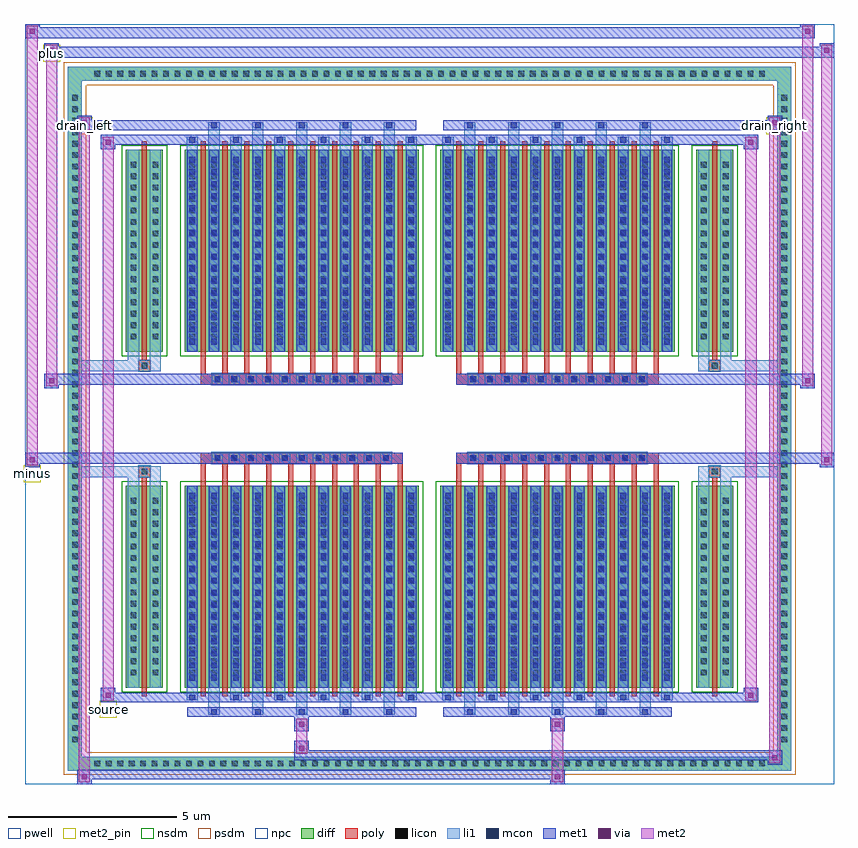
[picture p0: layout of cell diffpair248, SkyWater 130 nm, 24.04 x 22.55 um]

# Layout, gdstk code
import gdstk
lib = gdstk.Library(unit=1e-6, precision=5e-09)
def R(c, l, rs):  # rectangles x0, y0, x1, y1
    for r in rs: c.add(gdstk.rectangle(r[:2], r[2:], *l))
def A(c, l, x, y, w, h, nx, ny, dx, dy):  # array of equal rectangles
    R(c, l, [(x+i*dx, y+j*dy, x+i*dx+w, y+j*dy+h) for i in range(nx) for j in range(ny)])
def P(c, l, *ps):  # polygons
    for p in ps: c.add(gdstk.Polygon(p, *l))
pwell = (64, 44)
diff = (65, 20)
poly = (66, 20)
licon = (66, 44)
li1 = (67, 20)
mcon = (67, 44)
met1 = (68, 20)
via = (68, 44)
met2_pin = (69, 16)
met2 = (69, 20)
nsdm = (93, 44)
psdm = (94, 20)
npc = (95, 20)

diffpair248 = lib.new_cell('diffpair248')
R(diffpair248, pwell, [(-12,-10.84,12,11.71), (-9.32,-9.03,-0.01,-0.805), (0.01,-9.03,9.32,-0.805), (-9.32,0.805,-0.01,9.03), (0.01,0.805,9.32,9.03)])
A(diffpair248, diff, -10.065, -10.44, 0.41, 0.41, 59, 2, 0.34, 20.47)
A(diffpair248, diff, -10.73, -9.725, 0.41, 0.41, 1, 57, 0, 0.34)
A(diffpair248, diff, 10.32, -9.725, 0.41, 0.41, 1, 57, 0, 0.34)
R(diffpair248, diff, [(-10.065,-10.44,10.065,-10.03), (-10.73,-9.725,-10.32,9.725), (10.32,-9.725,10.73,9.725), (-9.01,-7.985,-7.91,-1.985), (-7.27,-7.985,-0.32,-1.985), (0.32,-7.985,7.27,-1.985), (7.91,-7.985,9.01,-1.985), (-9.01,1.985,-7.91,7.985), (-7.27,1.985,-0.32,7.985), (0.32,1.985,7.27,7.985), (7.91,1.985,9.01,7.985), (-10.065,10.03,10.065,10.44)])
P(diffpair248, diff, [(10.73,10.44),(-10.73,10.44),(-10.73,-10.03),(-10.32,-10.03),(-10.32,10.03),(10.32,10.03),(10.32,-10.03),(-10.32,-10.03),(-10.73,-10.03),(-10.73,-10.44),(10.73,-10.44)])
A(diffpair248, poly, -6.795, -8.235, 0.15, 6.5, 10, 2, 0.65, 9.97)
A(diffpair248, poly, 0.795, -8.235, 0.15, 6.5, 10, 2, 0.65, 9.97)
A(diffpair248, poly, -6.795, -1.735, 0.15, 0.4, 10, 2, 0.65, 3.07)
A(diffpair248, poly, 0.795, -1.735, 0.15, 0.4, 10, 2, 0.65, 3.07)
A(diffpair248, poly, -6.46, -1.335, 0.33, 0.33, 11, 2, 0.5, 2.34)
A(diffpair248, poly, 1.13, -1.335, 0.33, 0.33, 11, 2, 0.5, 2.34)
R(diffpair248, poly, [(-8.535,-8.235,-8.385,-1.735), (8.385,-8.235,8.535,-1.735), (-8.625,-1.735,-8.295,-1.405), (-8.625,-1.735,-8.295,-1.405), (8.295,-1.735,8.625,-1.405), (8.295,-1.735,8.625,-1.405), (-6.795,-1.335,-0.795,-1.005), (0.795,-1.335,6.795,-1.005), (-6.795,1.005,-0.795,1.335), (0.795,1.005,6.795,1.335), (-8.625,1.405,-8.295,1.735), (-8.625,1.405,-8.295,1.735), (8.295,1.405,8.625,1.735), (8.295,1.405,8.625,1.735), (-8.535,1.735,-8.385,8.235), (8.385,1.735,8.535,8.235)])
A(diffpair248, licon, -9.945, -10.32, 0.17, 0.17, 59, 2, 0.34, 20.47)
A(diffpair248, licon, -10.61, -9.605, 0.17, 0.17, 1, 57, 0, 0.34)
A(diffpair248, licon, 10.44, -9.605, 0.17, 0.17, 1, 57, 0, 0.34)
A(diffpair248, licon, -8.87, -7.62, 0.17, 0.17, 1, 16, 0, 0.34)
A(diffpair248, licon, -8.22, -7.62, 0.17, 0.17, 1, 16, 0, 0.34)
A(diffpair248, licon, -7.13, -7.62, 0.17, 0.17, 11, 16, 0.65, 0.34)
A(diffpair248, licon, 0.46, -7.62, 0.17, 0.17, 11, 16, 0.65, 0.34)
A(diffpair248, licon, 8.05, -7.62, 0.17, 0.17, 1, 16, 0, 0.34)
A(diffpair248, licon, 8.7, -7.62, 0.17, 0.17, 1, 16, 0, 0.34)
A(diffpair248, licon, -6.38, -1.255, 0.17, 0.17, 11, 2, 0.5, 2.34)
A(diffpair248, licon, 1.21, -1.255, 0.17, 0.17, 11, 2, 0.5, 2.34)
A(diffpair248, licon, -8.87, 2.35, 0.17, 0.17, 1, 16, 0, 0.34)
A(diffpair248, licon, -8.22, 2.35, 0.17, 0.17, 1, 16, 0, 0.34)
A(diffpair248, licon, -7.13, 2.35, 0.17, 0.17, 11, 16, 0.65, 0.34)
A(diffpair248, licon, 0.46, 2.35, 0.17, 0.17, 11, 16, 0.65, 0.34)
A(diffpair248, licon, 8.05, 2.35, 0.17, 0.17, 1, 16, 0, 0.34)
A(diffpair248, licon, 8.7, 2.35, 0.17, 0.17, 1, 16, 0, 0.34)
R(diffpair248, licon, [(-8.545,-1.655,-8.375,-1.485), (8.375,-1.655,8.545,-1.485), (-8.545,1.485,-8.375,1.655), (8.375,1.485,8.545,1.655)])
A(diffpair248, li1, -10.025, -10.4, 0.33, 0.33, 59, 2, 0.34, 20.47)
A(diffpair248, li1, -10.69, -9.685, 0.33, 0.33, 1, 57, 0, 0.34)
A(diffpair248, li1, 10.36, -9.685, 0.33, 0.33, 1, 57, 0, 0.34)
A(diffpair248, li1, -6.56, -8.79, 0.33, 0.805, 5, 2, 1.3, 16.775)
A(diffpair248, li1, -6.48, -8.79, 0.17, 0.17, 5, 2, 1.3, 17.41)
A(diffpair248, li1, 1.03, -8.79, 0.33, 0.805, 5, 2, 1.3, 16.775)
A(diffpair248, li1, 1.11, -8.79, 0.17, 0.17, 5, 2, 1.3, 17.41)
A(diffpair248, li1, -7.21, -8.36, 0.33, 0.375, 6, 2, 1.3, 16.345)
A(diffpair248, li1, -7.13, -8.36, 0.17, 0.17, 6, 2, 1.3, 16.55)
A(diffpair248, li1, 0.38, -8.36, 0.33, 0.375, 6, 2, 1.3, 16.345)
A(diffpair248, li1, 0.46, -8.36, 0.17, 0.17, 6, 2, 1.3, 16.55)
A(diffpair248, li1, -7.21, -7.985, 0.33, 6, 11, 2, 0.65, 9.97)
A(diffpair248, li1, 0.38, -7.985, 0.33, 6, 11, 2, 0.65, 9.97)
A(diffpair248, li1, -7.13, -7.77, 0.17, 0.17, 11, 16, 0.65, 0.36)
A(diffpair248, li1, -7.13, -7.77, 0.17, 5.57, 11, 2, 0.65, 9.97)
A(diffpair248, li1, 0.46, -7.77, 0.17, 0.17, 11, 16, 0.65, 0.36)
A(diffpair248, li1, 0.46, -7.77, 0.17, 5.57, 11, 2, 0.65, 9.97)
A(diffpair248, li1, -8.95, -7.7, 0.33, 0.33, 1, 16, 0, 0.34)
A(diffpair248, li1, -8.3, -7.7, 0.33, 0.33, 1, 16, 0, 0.34)
A(diffpair248, li1, -7.21, -7.7, 0.33, 0.33, 11, 16, 0.65, 0.34)
A(diffpair248, li1, 0.38, -7.7, 0.33, 0.33, 11, 16, 0.65, 0.34)
A(diffpair248, li1, 7.97, -7.7, 0.33, 0.33, 1, 16, 0, 0.34)
A(diffpair248, li1, 8.62, -7.7, 0.33, 0.33, 1, 16, 0, 0.34)
A(diffpair248, li1, -6.46, -1.335, 0.33, 0.33, 11, 2, 0.5, 2.34)
A(diffpair248, li1, 1.13, -1.335, 0.33, 0.33, 11, 2, 0.5, 2.34)
A(diffpair248, li1, -7.13, 2.2, 0.17, 0.17, 11, 16, 0.65, 0.36)
A(diffpair248, li1, 0.46, 2.2, 0.17, 0.17, 11, 16, 0.65, 0.36)
A(diffpair248, li1, -8.95, 2.27, 0.33, 0.33, 1, 16, 0, 0.34)
A(diffpair248, li1, -8.3, 2.27, 0.33, 0.33, 1, 16, 0, 0.34)
A(diffpair248, li1, -7.21, 2.27, 0.33, 0.33, 11, 16, 0.65, 0.34)
A(diffpair248, li1, 0.38, 2.27, 0.33, 0.33, 11, 16, 0.65, 0.34)
A(diffpair248, li1, 7.97, 2.27, 0.33, 0.33, 1, 16, 0, 0.34)
A(diffpair248, li1, 8.62, 2.27, 0.33, 0.33, 1, 16, 0, 0.34)
R(diffpair248, li1, [(-10.73,-10.44,-10.32,-10.03), (-10.73,-10.44,-10.32,-10.03), (-10.32,-10.44,10.32,-10.03), (10.32,-10.44,10.73,-10.03), (10.32,-10.44,10.73,-10.03), (-10.73,-10.03,-10.32,10.03), (10.32,-10.03,10.73,10.03), (-8.95,-7.985,-8.62,-1.985), (-8.3,-7.985,-7.97,-1.985), (7.97,-7.985,8.3,-1.985), (8.62,-7.985,8.95,-1.985), (-8.95,-1.985,-8.62,-1.405), (-8.3,-1.985,-7.97,-1.405), (7.97,-1.985,8.3,-1.405), (8.62,-1.985,8.95,-1.405), (-10.73,-1.735,-8.625,-1.405), (-8.95,-1.735,-8.625,-1.405), (-8.625,-1.735,-8.295,-1.405), (-8.295,-1.735,-7.97,-1.405), (7.97,-1.735,8.295,-1.405), (8.295,-1.735,8.625,-1.405), (8.295,-1.735,10.73,-1.405), (8.625,-1.735,8.95,-1.405), (-10.73,1.405,-8.625,1.735), (-8.95,1.405,-8.625,1.735), (-8.95,1.405,-8.62,1.985), (-8.625,1.405,-8.295,1.735), (-8.3,1.405,-7.97,1.985), (-8.295,1.405,-7.97,1.735), (7.97,1.405,8.295,1.735), (7.97,1.405,8.3,1.985), (8.295,1.405,8.625,1.735), (8.295,1.405,10.73,1.735), (8.62,1.405,8.95,1.985), (8.625,1.405,8.95,1.735), (-8.95,1.985,-8.62,7.985), (-8.3,1.985,-7.97,7.985), (7.97,1.985,8.3,7.985), (8.62,1.985,8.95,7.985), (-10.73,10.03,-10.32,10.44), (-10.73,10.03,-10.32,10.44), (-10.32,10.03,10.32,10.44), (10.32,10.03,10.73,10.44), (10.32,10.03,10.73,10.44)])
A(diffpair248, mcon, -6.48, -8.79, 0.17, 0.17, 5, 2, 1.3, 17.41)
A(diffpair248, mcon, 1.11, -8.79, 0.17, 0.17, 5, 2, 1.3, 17.41)
A(diffpair248, mcon, -7.13, -8.36, 0.17, 0.17, 6, 2, 1.3, 16.55)
A(diffpair248, mcon, 0.46, -8.36, 0.17, 0.17, 6, 2, 1.3, 16.55)
A(diffpair248, mcon, -7.13, -7.77, 0.17, 0.17, 11, 16, 0.65, 0.36)
A(diffpair248, mcon, 0.46, -7.77, 0.17, 0.17, 11, 16, 0.65, 0.36)
A(diffpair248, mcon, -6.38, -1.255, 0.17, 0.17, 11, 2, 0.5, 2.34)
A(diffpair248, mcon, 1.21, -1.255, 0.17, 0.17, 11, 2, 0.5, 2.34)
A(diffpair248, mcon, -7.13, 2.2, 0.17, 0.17, 11, 16, 0.65, 0.36)
A(diffpair248, mcon, 0.46, 2.2, 0.17, 0.17, 11, 16, 0.65, 0.36)
A(diffpair248, met1, -6.54, -8.85, 0.29, 0.29, 5, 2, 1.3, 17.41)
A(diffpair248, met1, 1.05, -8.85, 0.29, 0.29, 5, 2, 1.3, 17.41)
A(diffpair248, met1, -7.19, -8.42, 0.29, 0.29, 6, 2, 1.3, 16.55)
A(diffpair248, met1, 0.4, -8.42, 0.29, 0.29, 6, 2, 1.3, 16.55)
A(diffpair248, met1, -7.19, -7.985, 0.29, 6, 11, 2, 0.65, 9.97)
A(diffpair248, met1, 0.4, -7.985, 0.29, 6, 11, 2, 0.65, 9.97)
A(diffpair248, met1, -7.19, -7.83, 0.29, 0.29, 11, 16, 0.65, 0.36)
A(diffpair248, met1, 0.4, -7.83, 0.29, 0.29, 11, 16, 0.65, 0.36)
A(diffpair248, met1, -6.44, -1.315, 0.29, 0.29, 11, 2, 0.5, 2.34)
A(diffpair248, met1, 1.15, -1.315, 0.29, 0.29, 11, 2, 0.5, 2.34)
A(diffpair248, met1, -7.19, 2.14, 0.29, 0.29, 11, 16, 0.65, 0.36)
A(diffpair248, met1, 0.4, 2.14, 0.29, 0.29, 11, 16, 0.65, 0.36)
R(diffpair248, met1, [(-10.46,-10.84,-10.03,-10.41), (3.58,-10.84,4.01,-10.41), (-10.46,-10.7,4.01,-10.41), (10.03,-10.27,10.46,-9.84), (-4.01,-10.13,10.46,-9.84), (-4.01,-9.99,-3.58,-9.56), (-4.01,-9.28,-3.58,-8.85), (3.58,-9.28,4.01,-8.85), (-7.19,-8.85,-0.4,-8.56), (0.4,-8.85,7.19,-8.56), (-9.75,-8.42,-9.32,-7.99), (-9.75,-8.42,-7.19,-8.13), (-7.19,-8.42,-0.4,-8.13), (-0.4,-8.42,0.4,-8.13), (0.4,-8.42,7.19,-8.13), (7.19,-8.42,9.75,-8.13), (9.32,-8.42,9.75,-7.99), (-12,-1.435,-11.57,-1.005), (11.57,-1.435,12,-1.005), (-12,-1.335,-0.795,-1.005), (-6.795,-1.335,-0.795,-1.005), (0.795,-1.335,6.795,-1.005), (0.795,-1.335,12,-1.005), (-11.43,0.905,-11,1.335), (11,0.905,11.43,1.335), (-11.43,1.005,-6.795,1.335), (-6.795,1.005,-0.795,1.335), (0.795,1.005,6.795,1.335), (6.795,1.005,11.43,1.335), (-9.75,7.99,-9.32,8.42), (9.32,7.99,9.75,8.42), (-9.75,8.13,-7.19,8.42), (-7.19,8.13,-0.4,8.42), (-0.4,8.13,0.4,8.42), (0.4,8.13,7.19,8.42), (7.19,8.13,9.75,8.42), (-10.46,8.56,-10.03,8.99), (-10.46,8.56,-7.19,8.85), (-7.19,8.56,-0.4,8.85), (0.4,8.56,7.19,8.85), (7.19,8.56,10.46,8.85), (10.03,8.56,10.46,8.99), (-11.43,10.71,-11,11.14), (-11.43,10.71,-9.32,11.04), (-9.32,10.71,9.32,11.04), (9.32,10.71,12,11.04), (11.57,10.71,12,11.14), (-12,11.28,-11.57,11.71), (-12,11.28,-9.32,11.61), (-9.32,11.28,9.32,11.61), (9.32,11.28,11.43,11.61), (11,11.28,11.43,11.71)])
R(diffpair248, via, [(-10.32,-10.7,-10.17,-10.55), (3.72,-10.7,3.87,-10.55), (10.17,-10.13,10.32,-9.98), (-3.87,-9.85,-3.72,-9.7), (-3.87,-9.14,-3.72,-8.99), (3.72,-9.14,3.87,-8.99), (-9.61,-8.28,-9.46,-8.13), (9.46,-8.28,9.61,-8.13), (-11.86,-1.295,-11.71,-1.145), (11.71,-1.295,11.86,-1.145), (-11.29,1.045,-11.14,1.195), (11.14,1.045,11.29,1.195), (-9.61,8.13,-9.46,8.28), (9.46,8.13,9.61,8.28), (-10.32,8.7,-10.17,8.85), (10.17,8.7,10.32,8.85), (-11.29,10.85,-11.14,11), (11.71,10.85,11.86,11), (-11.86,11.42,-11.71,11.57), (11.14,11.42,11.29,11.57)])
R(diffpair248, met2_pin, [(-9.785,-8.87,-9.285,-8.37), (-12.035,-1.885,-11.535,-1.385), (-10.495,8.44,-9.995,8.94), (9.995,8.44,10.495,8.94), (-11.465,10.59,-10.965,11.09)])
R(diffpair248, met2, [(-10.41,-10.79,-10.08,-10.46), (-10.41,-10.79,-10.08,8.94), (3.63,-10.79,3.96,-10.46), (3.63,-10.46,3.96,-9.23), (10.08,-10.22,10.41,-9.89), (10.08,-10.22,10.41,8.94), (-3.96,-9.94,-3.63,-9.61), (-3.96,-9.61,-3.63,-9.23), (-3.96,-9.23,-3.63,-8.9), (3.63,-9.23,3.96,-8.9), (-9.7,-8.37,-9.37,-8.04), (-9.7,-8.37,-9.37,8.37), (9.37,-8.37,9.7,-8.04), (9.37,-8.37,9.7,8.37), (-11.95,-1.385,-11.62,-1.055), (-11.95,-1.385,-11.62,11.66), (11.62,-1.385,11.95,-1.055), (11.62,-1.385,11.95,11.09), (-11.38,0.955,-11.05,1.285), (-11.38,0.955,-11.05,11.09), (11.05,0.955,11.38,1.285), (11.05,0.955,11.38,11.66), (-9.7,8.04,-9.37,8.37), (9.37,8.04,9.7,8.37), (-10.41,8.61,-10.08,8.94), (10.08,8.61,10.41,8.94), (-11.38,10.76,-11.05,11.09), (11.62,10.76,11.95,11.09), (-11.95,11.33,-11.62,11.66), (11.05,11.33,11.38,11.66)])
P(diffpair248, met2, [(11.95,-1.385),(11.95,-1.385),(11.95,-1.055),(11.95,-1.055)],
  [(11.95,10.76),(11.95,10.76),(11.95,11.09),(11.95,11.09)],
  [(-11.62,-1.385),(-11.62,-1.385),(-11.62,-1.055),(-11.62,-1.055)],
  [(-11.62,11.33),(-11.62,11.33),(-11.62,11.66),(-11.62,11.66)],
  [(11.38,0.955),(11.38,0.955),(11.38,1.285),(11.38,1.285)],
  [(11.38,11.33),(11.38,11.33),(11.38,11.66),(11.38,11.66)],
  [(-11.05,0.955),(-11.05,0.955),(-11.05,1.285),(-11.05,1.285)],
  [(-11.05,10.76),(-11.05,10.76),(-11.05,11.09),(-11.05,11.09)],
  [(-10.08,-10.79),(-10.08,-10.79),(-10.08,-10.46),(-10.08,-10.46)],
  [(-10.08,8.61),(-10.08,8.61),(-10.08,8.94),(-10.08,8.94)],
  [(10.41,-10.22),(10.41,-10.22),(10.41,-9.89),(10.41,-9.89)],
  [(10.41,8.61),(10.41,8.61),(10.41,8.94),(10.41,8.94)],
  [(-9.37,-8.37),(-9.37,-8.37),(-9.37,-8.04),(-9.37,-8.04)],
  [(-9.37,8.04),(-9.37,8.04),(-9.37,8.37),(-9.37,8.37)],
  [(9.7,-8.37),(9.7,-8.37),(9.7,-8.04),(9.7,-8.04)],
  [(9.7,8.04),(9.7,8.04),(9.7,8.37),(9.7,8.37)])
R(diffpair248, nsdm, [(-9.14,-8.115,-7.78,-1.855), (-7.4,-8.115,-0.19,-1.855), (0.19,-8.115,7.4,-1.855), (7.78,-8.115,9.14,-1.855), (-9.14,1.855,-7.78,8.115), (-7.4,1.855,-0.19,8.115), (0.19,1.855,7.4,8.115), (7.78,1.855,9.14,8.115)])
P(diffpair248, psdm, [(10.86,10.57),(-10.86,10.57),(-10.86,-9.9),(-10.19,-9.9),(-10.19,9.9),(10.19,9.9),(10.19,-9.9),(-10.19,-9.9),(-10.86,-9.9),(-10.86,-10.57),(10.86,-10.57)])
A(diffpair248, npc, -6.48, -1.355, 0.37, 0.37, 11, 2, 0.5, 2.34)
A(diffpair248, npc, 1.11, -1.355, 0.37, 0.37, 11, 2, 0.5, 2.34)
R(diffpair248, npc, [(-8.645,-1.755,-8.275,-1.385), (8.275,-1.755,8.645,-1.385), (-6.48,-1.355,-5.61,-0.985), (-6.48,-1.355,-5.61,-0.985), (-5.98,-1.355,-5.11,-0.985), (-5.98,-1.355,-5.11,-0.985), (-5.48,-1.355,-4.61,-0.985), (-5.48,-1.355,-4.61,-0.985), (-4.98,-1.355,-4.11,-0.985), (-4.98,-1.355,-4.11,-0.985), (-4.48,-1.355,-3.61,-0.985), (-4.48,-1.355,-3.61,-0.985), (-3.98,-1.355,-3.11,-0.985), (-3.98,-1.355,-3.11,-0.985), (-3.48,-1.355,-2.61,-0.985), (-3.48,-1.355,-2.61,-0.985), (-2.98,-1.355,-2.11,-0.985), (-2.98,-1.355,-2.11,-0.985), (-2.48,-1.355,-1.61,-0.985), (-2.48,-1.355,-1.61,-0.985), (-1.98,-1.355,-1.11,-0.985), (-1.98,-1.355,-1.11,-0.985), (1.11,-1.355,1.98,-0.985), (1.11,-1.355,1.98,-0.985), (1.61,-1.355,2.48,-0.985), (1.61,-1.355,2.48,-0.985), (2.11,-1.355,2.98,-0.985), (2.11,-1.355,2.98,-0.985), (2.61,-1.355,3.48,-0.985), (2.61,-1.355,3.48,-0.985), (3.11,-1.355,3.98,-0.985), (3.11,-1.355,3.98,-0.985), (3.61,-1.355,4.48,-0.985), (3.61,-1.355,4.48,-0.985), (4.11,-1.355,4.98,-0.985), (4.11,-1.355,4.98,-0.985), (4.61,-1.355,5.48,-0.985), (4.61,-1.355,5.48,-0.985), (5.11,-1.355,5.98,-0.985), (5.11,-1.355,5.98,-0.985), (5.61,-1.355,6.48,-0.985), (5.61,-1.355,6.48,-0.985), (-6.48,0.985,-5.61,1.355), (-6.48,0.985,-5.61,1.355), (-5.98,0.985,-5.11,1.355), (-5.98,0.985,-5.11,1.355), (-5.48,0.985,-4.61,1.355), (-5.48,0.985,-4.61,1.355), (-4.98,0.985,-4.11,1.355), (-4.98,0.985,-4.11,1.355), (-4.48,0.985,-3.61,1.355), (-4.48,0.985,-3.61,1.355), (-3.98,0.985,-3.11,1.355), (-3.98,0.985,-3.11,1.355), (-3.48,0.985,-2.61,1.355), (-3.48,0.985,-2.61,1.355), (-2.98,0.985,-2.11,1.355), (-2.98,0.985,-2.11,1.355), (-2.48,0.985,-1.61,1.355), (-2.48,0.985,-1.61,1.355), (-1.98,0.985,-1.11,1.355), (-1.98,0.985,-1.11,1.355), (1.11,0.985,1.98,1.355), (1.11,0.985,1.98,1.355), (1.61,0.985,2.48,1.355), (1.61,0.985,2.48,1.355), (2.11,0.985,2.98,1.355), (2.11,0.985,2.98,1.355), (2.61,0.985,3.48,1.355), (2.61,0.985,3.48,1.355), (3.11,0.985,3.98,1.355), (3.11,0.985,3.98,1.355), (3.61,0.985,4.48,1.355), (3.61,0.985,4.48,1.355), (4.11,0.985,4.98,1.355), (4.11,0.985,4.98,1.355), (4.61,0.985,5.48,1.355), (4.61,0.985,5.48,1.355), (5.11,0.985,5.98,1.355), (5.11,0.985,5.98,1.355), (5.61,0.985,6.48,1.355), (5.61,0.985,6.48,1.355), (-8.645,1.385,-8.275,1.755), (8.275,1.385,8.645,1.755)])
diffpair248.add(gdstk.Label('minus', (-11.785,-1.635), layer=69, texttype=5))
diffpair248.add(gdstk.Label('drain_right', (10.245,8.69), layer=69, texttype=5))
diffpair248.add(gdstk.Label('drain_left', (-10.245,8.69), layer=69, texttype=5))
diffpair248.add(gdstk.Label('source', (-9.535,-8.62), layer=69, texttype=5))
diffpair248.add(gdstk.Label('plus', (-11.215,10.84), layer=69, texttype=5))

lib.write_gds('diffpair248.gds')
